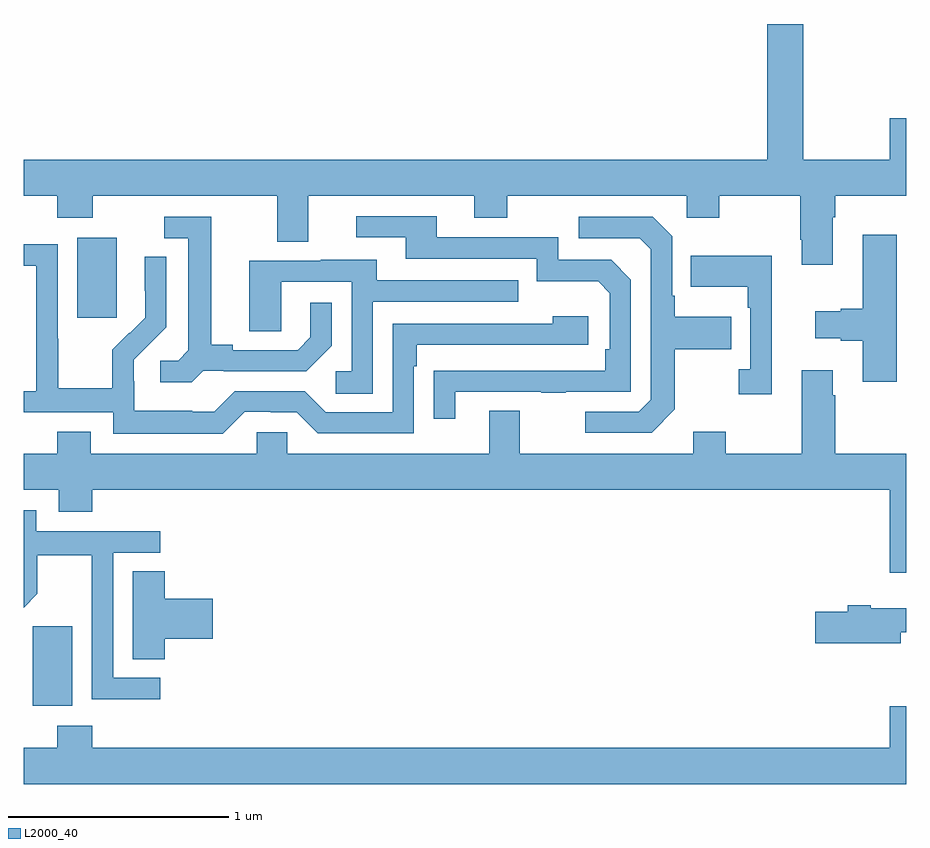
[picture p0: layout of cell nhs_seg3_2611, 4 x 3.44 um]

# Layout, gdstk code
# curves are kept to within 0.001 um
import gdstk
lib = gdstk.Library(unit=1e-6, precision=1e-09)
def R(c, l, rs):  # rectangles x0, y0, x1, y1
    for r in rs: c.add(gdstk.rectangle(r[:2], r[2:], *l))
def P(c, l, *ps):  # polygons
    for p in ps: c.add(gdstk.Polygon(p, *l))
L2000_40 = (2000, 40)

nhs_seg3_2611 = lib.new_cell('nhs_seg3_2611')
R(nhs_seg3_2611, L2000_40, [(245.042,721.25,245.221,721.611), (245.243,723.009,245.422,723.37)])
P(nhs_seg3_2611, L2000_40, [(248.665,723.464),(248.678,723.464),(248.678,723.56),(249,723.56),(249,723.913),(248.924,723.913),(248.924,723.724),(248.533,723.724),(248.533,724.339),(248.369,724.339),(248.369,723.724),(245,723.724),(245,723.56),(245.153,723.56),(245.153,723.461),(245.313,723.461),(245.313,723.56),(246.149,723.56),(246.149,723.352),(246.289,723.352),(246.289,723.56),(247.043,723.56),(247.043,723.461),(247.191,723.461),(247.191,723.56),(248.004,723.56),(248.004,723.461),(248.151,723.461),(248.151,723.56),(248.518,723.56),(248.518,723.361),(248.525,723.361),(248.525,723.249),(248.665,723.249)],
  [(246.955,722.673),(247.345,722.673),(247.345,722.668),(247.457,722.668),(247.457,722.673),(247.752,722.673),(247.752,723.18),(247.662,723.27),(247.422,723.27),(247.422,723.372),(246.871,723.372),(246.871,723.468),(246.507,723.468),(246.507,723.372),(246.731,723.372),(246.731,723.276),(247.326,723.276),(247.326,723.173),(247.603,723.173),(247.656,723.12),(247.656,722.866),(247.636,722.866),(247.636,722.769),(246.859,722.768),(246.859,722.55),(246.955,722.55)],
  [(245.814,722.769),(245.908,722.769),(245.908,722.766),(246.28,722.766),(246.396,722.882),(246.396,723.076),(246.299,723.076),(246.299,722.919),(246.242,722.862),(245.947,722.862),(245.947,722.885),(245.851,722.885),(245.851,723.465),(245.637,723.465),(245.637,723.369),(245.747,723.369),(245.747,722.861),(245.7,722.814),(245.619,722.814),(245.619,722.717),(245.762,722.717)],
  [(247.951,722.593),(247.951,722.866),(248.207,722.866),(248.207,723.013),(247.951,723.013),(247.951,723.109),(247.938,723.109),(247.938,723.378),(247.851,723.465),(247.515,723.465),(247.515,723.369),(247.791,723.369),(247.842,723.318),(247.842,722.637),(247.788,722.583),(247.545,722.583),(247.545,722.487),(247.845,722.487)],
  [(248.956,723.385),(248.801,723.385),(248.801,723.05),(248.702,723.05),(248.702,723.037),(248.586,723.037),(248.586,722.915),(248.702,722.915),(248.702,722.903),(248.801,722.903),(248.801,722.718),(248.956,722.718)],
  [(246.003,722.583),(246.119,722.583),(246.119,722.58),(246.237,722.58),(246.333,722.484),(246.768,722.484),(246.768,722.789),(246.781,722.789),(246.781,722.886),(247.558,722.886),(247.558,723.016),(247.397,723.016),(247.397,722.982),(246.672,722.982),(246.672,722.58),(246.369,722.58),(246.273,722.676),(245.958,722.676),(245.865,722.583),(245.765,722.583),(245.765,722.587),(245.502,722.587),(245.502,722.721),(245.5,722.721),(245.5,722.818),(245.646,722.966),(245.646,723.284),(245.55,723.284),(245.55,723.13),(245.552,723.13),(245.552,723.008),(245.481,722.937),(245.478,722.94),(245.401,722.863),(245.401,722.689),(245.157,722.689),(245.157,722.912),(245.154,722.912),(245.154,723.342),(245,723.342),(245,723.243),(245.058,723.243),(245.058,722.676),(245,722.676),(245,722.58),(245.406,722.58),(245.406,722.483),(245.903,722.483)],
  [(248.39,723.289),(248.023,723.289),(248.023,723.149),(248.28,723.149),(248.28,723.053),(248.292,723.053),(248.292,722.774),(248.241,722.774),(248.241,722.661),(248.39,722.661)],
  [(246.582,723.081),(247.241,723.081),(247.241,723.177),(246.601,723.177),(246.601,723.271),(246.347,723.271),(246.347,723.267),(246.023,723.267),(246.023,722.947),(246.168,722.947),(246.168,723.171),(246.486,723.171),(246.486,722.766),(246.414,722.766),(246.414,722.665),(246.582,722.665)],
  [(249,722.392),(248.678,722.392),(248.678,722.657),(248.665,722.657),(248.665,722.77),(248.525,722.77),(248.525,722.392),(248.181,722.392),(248.181,722.491),(248.033,722.491),(248.033,722.392),(247.249,722.392),(247.249,722.587),(247.109,722.587),(247.109,722.392),(246.195,722.392),(246.195,722.49),(246.057,722.49),(246.057,722.392),(245.305,722.392),(245.305,722.491),(245.153,722.491),(245.153,722.392),(245,722.392),(245,722.228),(245.159,722.228),(245.159,722.129),(245.312,722.129),(245.312,722.228),(248.924,722.228),(248.924,721.854),(249,721.854)],
  [(245.62,721.377),(245.406,721.377),(245.406,721.944),(245.62,721.944),(245.62,722.04),(245.058,722.04),(245.058,722.137),(245,722.137),(245,721.694),(245.063,721.757),(245.063,721.932),(245.308,721.932),(245.308,721.708),(245.31,721.708),(245.31,721.279),(245.62,721.279)],
  [(245.639,721.553),(245.857,721.553),(245.857,721.736),(245.639,721.736),(245.639,721.859),(245.495,721.859),(245.495,721.462),(245.639,721.462)],
  [(248.974,721.584),(249,721.584),(249,721.693),(248.839,721.693),(248.839,721.706),(248.735,721.706),(248.735,721.676),(248.586,721.676),(248.586,721.534),(248.974,721.534)],
  [(249,721.249),(248.924,721.249),(248.924,721.06),(245.312,721.06),(245.312,721.159),(245.152,721.159),(245.152,721.06),(245,721.06),(245,720.896),(249,720.896)])

lib.write_gds('nhs_seg3_2611.gds')
